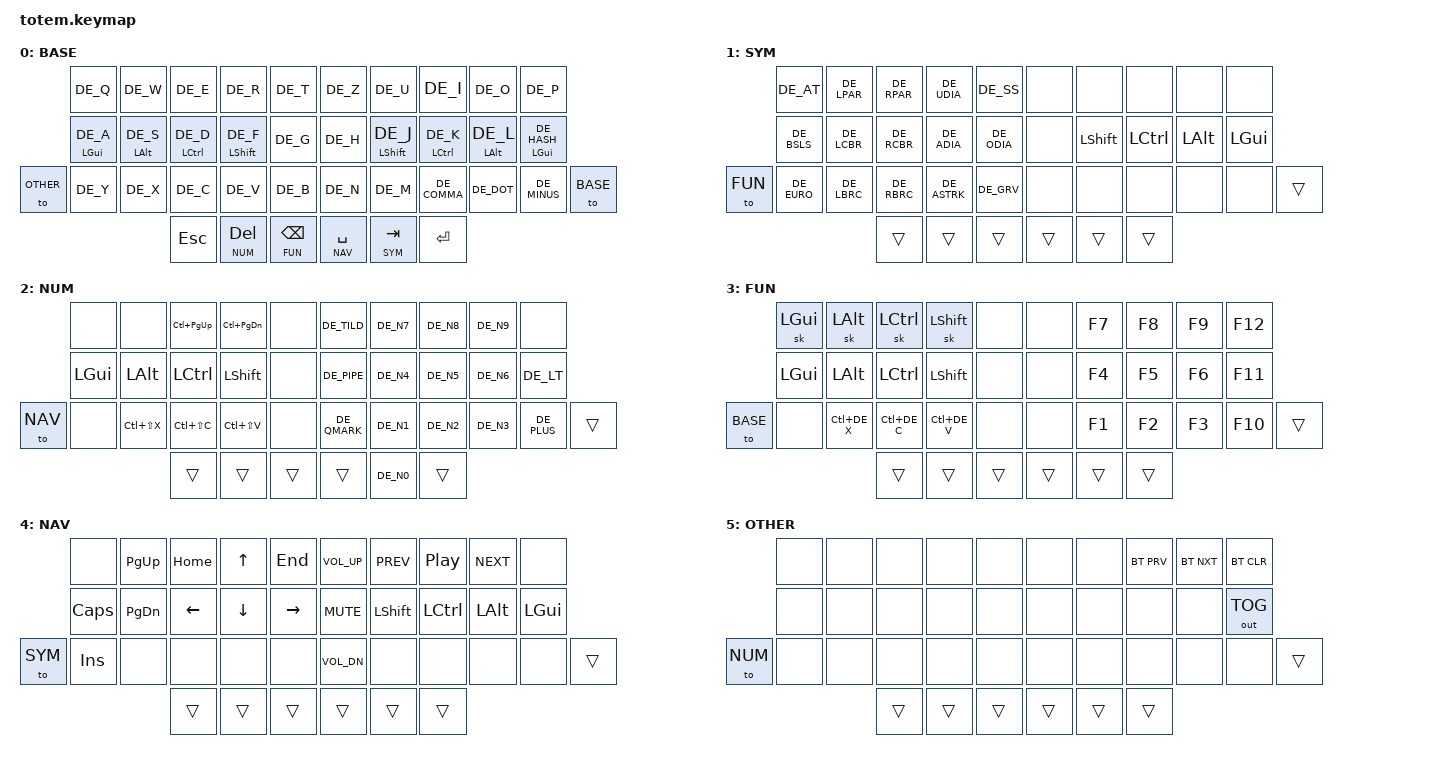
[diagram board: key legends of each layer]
#include <behaviors.dtsi>
#include <dt-bindings/zmk/keys.h>
#include <dt-bindings/zmk/bt.h>
#include <dt-bindings/zmk/outputs.h>
#include "keys_de.h"

#define BASE 0
#define SYM  1
#define NUM  2
#define FUN  3
#define NAV  4
#define OTHER 5

&mt {
  quick-tap-ms = <100>;
  global-quick-tap;
  flavor = "tap-preferred";
  tapping-term-ms = <170>;
};

/ {
    keymap {
        compatible = "zmk,keymap";
        base_layer {
            label= "BASE";
            bindings = <
                &kp DE_Q       &kp DE_W       &kp DE_E       &kp DE_R       &kp DE_T        &kp DE_Z       &kp DE_U       &kp DE_I       &kp DE_O       &kp DE_P
                &mt LGUI DE_A  &mt LALT DE_S  &mt LCTRL DE_D &mt LSHFT DE_F &kp DE_G        &kp DE_H       &mt LSHFT DE_J &mt LCTRL DE_K &mt LALT DE_L  &mt LGUI DE_HASH
    &to OTHER   &kp DE_Y       &kp DE_X       &kp DE_C       &kp DE_V       &kp DE_B        &kp DE_N       &kp DE_M       &kp DE_COMMA   &kp DE_DOT     &kp DE_MINUS     &to BASE
                                              &kp ESC        &lt NUM DEL    &lt FUN BSPC    &lt NAV SPC    &lt SYM TAB    &kp RET
                        >;
        };

        sym_layer {
            label= "SYM";
            bindings = <
                &kp DE_AT   &kp DE_LPAR &kp DE_RPAR  &kp DE_UDIA  &kp DE_SS       &none    &none     &none      &none    &none
                &kp DE_BSLS &kp DE_LCBR &kp DE_RCBR  &kp DE_ADIA  &kp DE_ODIA     &none    &kp LSHFT &kp LCTRL  &kp LALT &kp LGUI
    &to FUN     &kp DE_EURO &kp DE_LBRC &kp DE_RBRC  &kp DE_ASTRK &kp DE_GRV      &none    &none     &none      &none    &none    &trans
                                        &trans       &trans       &trans          &trans   &trans    &trans
            >;
        };

        num_layer {
            label= "NUM";
            bindings = <
                &none     &none         &kp LC(PG_UP) &kp LC(PG_DN) &none        &kp DE_TILD  &kp DE_N7 &kp DE_N8 &kp DE_N9  &none
                &kp LGUI  &kp LALT      &kp LCTRL     &kp LSHFT     &none        &kp DE_PIPE  &kp DE_N4 &kp DE_N5 &kp DE_N6  &kp DE_LT
    &to NAV     &none     &kp LC(LS(X)) &kp LC(LS(C)) &kp LC(LS(V)) &none        &kp DE_QMARK &kp DE_N1 &kp DE_N2 &kp DE_N3  &kp DE_PLUS  &trans
                                        &trans        &trans        &trans       &trans       &kp DE_N0 &trans
            >;
        };

        fun_layer {
            label= "FUN";
            bindings = <
                &sk LGUI  &sk LALT     &sk LCTRL    &sk LSHFT    &none        &none    &kp F7  &kp F8  &kp F9  &kp F12
                &kp LGUI  &kp LALT     &kp LCTRL    &kp LSHFT    &none        &none    &kp F4  &kp F5  &kp F6  &kp F11
    &to BASE    &none     &kp LC(DE_X) &kp LC(DE_C) &kp LC(DE_V) &none        &none    &kp F1  &kp F2  &kp F3  &kp F10  &trans
                                       &trans       &trans       &trans       &trans   &trans  &trans
            >;
        };

        nav_layer {
            label= "NAV";
            bindings = <
                &none     &kp PG_UP &kp HOME   &kp UP   &kp END          &kp C_VOL_UP  &kp C_PREV  &kp C_PP   &kp C_NEXT  &none
                &kp CLCK  &kp PG_DN &kp LEFT   &kp DOWN &kp RIGHT        &kp C_MUTE    &kp LSHFT   &kp LCTRL  &kp LALT &kp LGUI
    &to SYM     &kp INS   &none     &none      &none    &none            &kp C_VOL_DN  &none       &none      &none    &none    &trans
                                    &trans     &trans   &trans           &trans        &trans      &trans
            >;
        };

        other_layer {
            label= "OTHER";
            bindings = <
                    &none    &none     &none      &none    &none       &none    &none     &bt BT_PRV  &bt BT_NXT &bt BT_CLR
                    &none    &none     &none      &none    &none       &none    &none     &none       &none      &out OUT_TOG
    &to NUM         &none    &none     &none      &none    &none       &none    &none     &none       &none      &none          &trans
                                       &trans     &trans   &trans      &trans   &trans    &trans
            >;
        };
    };
};
